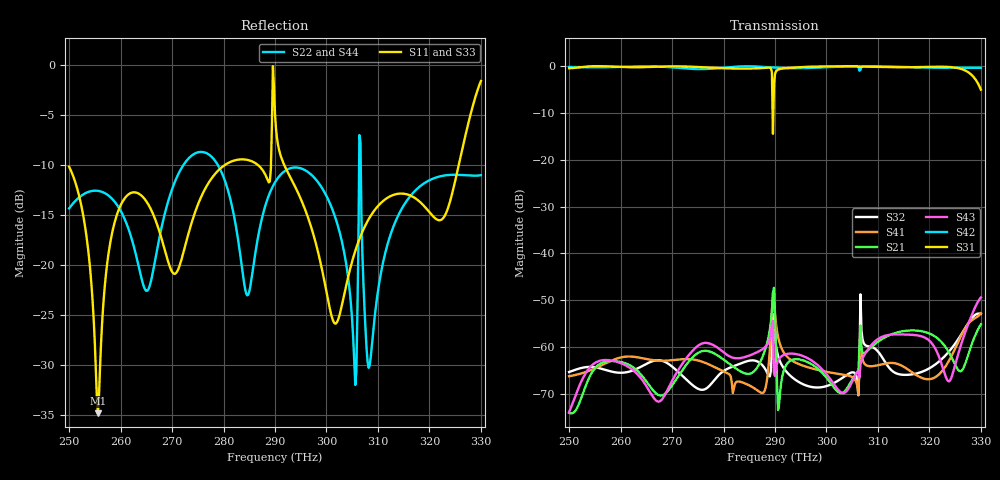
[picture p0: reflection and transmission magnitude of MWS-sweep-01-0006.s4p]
! TOUCHSTONE file generated by CST MICROWAVE STUDIO
! Date and time: Sun Sep 21 00:11:35 2025
! Project name: biblioteca3.cst
! Parameters = {t_sub=2000; t_air=1000; k=0; n=0; wavelength_nm=0; H=600; Lx=200; Ly=260; P=520}
! Header version: 2018
! Port assignment regex: !\s*Touchstone port\s*([0-9]+)\s*=\s*(CST MWS port|CST DS port)\s*([0-9]+|Zmin|Zmax)\s*\(\"(.*)\"\)(\s*mode\s*([0-9]+))?.*
! Touchstone port assignment:
! Touchstone port 1 = CST MWS port Zmin ("") mode 1
! Touchstone port 2 = CST MWS port Zmin ("") mode 2
! Touchstone port 3 = CST MWS port Zmax ("") mode 1
! Touchstone port 4 = CST MWS port Zmax ("") mode 2
! S-Parameters are not renormalized. Unphysical impedance of 50 will be written to the file.
# GHz S RI R 50
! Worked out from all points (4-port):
!   401 points, 250 THz to 330 THz, reference per port
!   strongest paths, dB at 250 THz, 270 THz, 290 THz, 310 THz, 330 THz:
!     S31: -0.4, 0.0, -1.7, -0.2, -5.0
!     S42: -0.2, -0.3, -0.3, 0.0, -0.4
!     S43: -73.9, -67.3, -66.2, -58.3, -49.4
!     S21: -74.1, -68.2, -54.0, -58.9, -55.2
!     S41: -66.3, -62.8, -52.7, -63.9, -52.8
!     S32: -65.4, -64.2, -57.6, -61.0, -52.9
!   lowest |S11| = -34.8 dB at 255.6 THz (marker M1), VSWR 1.04
!   |S11| at or under -10 dB: start of sweep to 280.3 THz; 286.6 THz to 289.2 THz (2.588 THz wide, 0.899 % of centre); 291.8 THz to 325.7 THz (33.94 THz wide, 11 % of centre)
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250000  -0.2246 -0.2124  9.56e-05 -0.000164  0.5691 -0.7618  5.71e-05 0.000551
        9.39e-05 -0.000174  0.0659 -0.1798  -2.82e-05 0.000493  0.8076 0.5576
        0.5693 -0.762  0.000105 0.000529  -0.2673 -0.1551  0.000111 -0.00022
        2.14e-05 0.000486  0.8071 0.5578  5.7e-05 -0.000194  0.1448 -0.1253
255600  -0.0133 -0.0124  -0.000207 0.000498  -0.8177 -0.5738  0.000659 -3.05e-05
        -0.000194 0.000607  -0.1331 -0.193  0.000523 9.86e-05  0.8372 -0.4945
        -0.8168 -0.5769  0.00059 9.71e-05  0.0149 0.00817  -6.87e-05 -0.000586
        0.000611 4.32e-06  0.8371 -0.4941  -0.000187 -0.000674  -0.105 -0.2095
266800  -0.1529 0.0672  0.000236 -0.000206  0.7457 0.6448  -0.000746 -0.000105
        0.000249 -0.000203  -0.0839 -0.0693  -0.0005 -0.000386  -0.9934 -0.0384
        0.7458 0.6448  -0.000544 -0.000468  -0.0445 0.161  6.92e-05 0.000254
        -0.000717 -2.7e-05  -0.9936 -0.0381  4.8e-05 0.000266  0.0891 -0.0626
278400  -0.2073 0.1963  -0.000584 -0.000572  -0.4165 -0.8625  0.000362 4.52e-05
        -0.000785 -0.000296  0.00126 0.3299  0.000186 0.000411  0.9408 0.0679
        -0.4175 -0.8625  0.00033 0.000313  -0.2824 0.0407  -0.00077 -0.000683
        0.0006 6.65e-05  0.9423 0.0684  -0.00102 -2.04e-05  -0.0483 0.326
289600  -0.9637 0.1881  0.000392 -0.00418  0.169 0.0858  0.000295 -0.00324
        -0.000688 -0.00352  0.073 0.2366  0.00196 0.000416  -0.9678 -0.0463
        0.169 0.0856  0.00173 0.00142  0.4192 0.8878  0.000418 0.00183
        -0.000183 -0.00379  -0.9677 -0.0468  0.000956 0.00164  -0.0952 0.2286
302800  0.0599 0.000476  0.00032 -1.17e-05  0.8559 -0.5138  0.000182 0.000385
        0.00032 5.2e-06  0.0347 -0.1331  2.23e-05 0.000426  0.9781 0.1572
        0.8548 -0.5122  7.39e-05 0.00045  -0.0279 0.053  -0.000268 0.000178
        0.000225 0.000458  0.9782 0.1575  -0.000294 0.000143  0.00875 -0.1373
330000  -0.7576 -0.3341  0.0011 0.00113  0.5281 -0.1882  0.000301 0.00212
        0.00105 0.0014  -0.2682 -0.0823  0.000259 0.00253  0.499 0.82
        0.5284 -0.1887  0.000391 0.00222  0.3754 -0.7381  -0.0014 0.0032
        2.8e-05 0.00229  0.4994 0.8198  -0.00144 0.00306  -0.05 0.2761
